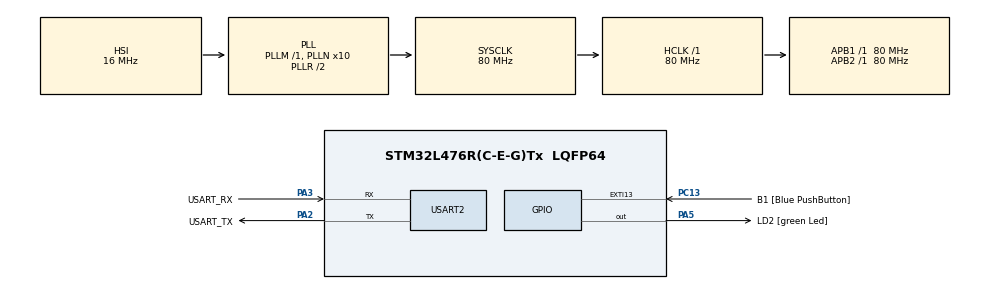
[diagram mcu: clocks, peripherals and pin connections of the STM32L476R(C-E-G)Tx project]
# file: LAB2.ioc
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FREERTOS.Tasks01=defaultTask,8,128,StartDefaultTask,Default,NULL,Dynamic,NULL,NULL;Blink1Task,24,128,Blink1,Default,NULL,Dynamic,NULL,NULL;Blink2Task,24,128,Blink2,Default,NULL,Dynamic,NULL,NULL;TriggTask,40,128,Trigg,Default,NULL,Dynamic,NULL,NULL;UserbuttonTask,40,128,Userbutton,Default,NULL,Dynamic,NULL,NULL
FREERTOS.configTOTAL_HEAP_SIZE=4000
Mcu.Family=STM32L4
Mcu.Name=STM32L476R(C-E-G)Tx
Mcu.Package=LQFP64
NVIC.PriorityGroup=NVIC_PRIORITYGROUP_4
NVIC.TIM1_UP_TIM16_IRQn=true\:15\:0\:false\:false\:true\:false\:false\:true
NVIC.TimeBase=TIM1_UP_TIM16_IRQn
NVIC.TimeBaseIP=TIM1
PA13\ (JTMS-SWDIO).GPIO_Label=TMS
PA13\ (JTMS-SWDIO).Mode=Serial_Wire
PA13\ (JTMS-SWDIO).Signal=SYS_JTMS-SWDIO
PA14\ (JTCK-SWCLK).GPIO_Label=TCK
PA14\ (JTCK-SWCLK).Mode=Serial_Wire
PA14\ (JTCK-SWCLK).Signal=SYS_JTCK-SWCLK
PA2.GPIO_Label=USART_TX
PA2.GPIO_Mode=GPIO_MODE_AF_PP
PA2.GPIO_PuPd=GPIO_NOPULL
PA2.GPIO_Speed=GPIO_SPEED_FREQ_VERY_HIGH
PA2.Mode=Asynchronous
PA2.Signal=USART2_TX
PA3.GPIO_Label=USART_RX
PA3.GPIO_Mode=GPIO_MODE_AF_PP
PA3.GPIO_PuPd=GPIO_NOPULL
PA3.GPIO_Speed=GPIO_SPEED_FREQ_VERY_HIGH
PA3.Mode=Asynchronous
PA3.Signal=USART2_RX
PA5.GPIO_Label=LD2 [green Led]
PA5.GPIO_ModeDefaultOutputPP=GPIO_MODE_OUTPUT_PP
PA5.GPIO_PuPd=GPIO_NOPULL
PA5.GPIO_Speed=GPIO_SPEED_FREQ_LOW
PA5.Signal=GPIO_Output
PB3\ (JTDO-TRACESWO).GPIO_Label=SWO
PB3\ (JTDO-TRACESWO).Signal=SYS_JTDO-SWO
PC13.GPIO_Label=B1 [Blue PushButton]
PC13.GPIO_ModeDefaultEXTI=GPIO_MODE_IT_FALLING
PC13.GPIO_PuPd=GPIO_NOPULL
PC13.Signal=GPXTI13
PC14-OSC32_IN\ (PC14).Mode=LSE-External-Oscillator
PC14-OSC32_IN\ (PC14).Signal=RCC_OSC32_IN
PC15-OSC32_OUT\ (PC15).Mode=LSE-External-Oscillator
PC15-OSC32_OUT\ (PC15).Signal=RCC_OSC32_OUT
PH0-OSC_IN\ (PH0).Signal=RCC_OSC_IN
PH1-OSC_OUT\ (PH1).Signal=RCC_OSC_OUT
ProjectManager.HeapSize=0x200
ProjectManager.StackSize=0x400
ProjectManager.TargetToolchain=STM32CubeIDE
RCC.ADCFreq_Value=64000000
RCC.AHBFreq_Value=80000000
RCC.APB1Freq_Value=80000000
RCC.APB1TimFreq_Value=80000000
RCC.APB2Freq_Value=80000000
RCC.APB2TimFreq_Value=80000000
RCC.CortexFreq_Value=80000000
RCC.HCLKFreq_Value=80000000
RCC.HSE_VALUE=8000000
RCC.HSI_VALUE=16000000
RCC.MSI_VALUE=4000000
RCC.PLLN=10
RCC.PLLSourceVirtual=RCC_PLLSOURCE_HSI
RCC.PREFETCH_ENABLE=1
RCC.SYSCLKFreq_VALUE=80000000
RCC.SYSCLKSource=RCC_SYSCLKSOURCE_PLLCLK
RCC.USBFreq_Value=64000000
RCC.VCOOutputFreq_Value=160000000
USART2.VirtualMode-Asynchronous=VM_ASYNC
VP_FREERTOS_VS_CMSIS_V2.Mode=CMSIS_V2
VP_SYS_VS_tim1.Mode=TIM1
board=NUCLEO-L476RG

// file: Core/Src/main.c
/* USER CODE BEGIN Header */
/** // Mohamad Abou Helal //
  ******************************************************************************
  * @file           : main.c
  * @brief          : Main program body
  ******************************************************************************
  * @attention
  *
  * <h2><center>&copy; Copyright (c) 2021 STMicroelectronics.
  * All rights reserved.</center></h2>
  *
  * This software component is licensed by ST under BSD 3-Clause license,
  * the "License"; You may not use this file except in compliance with the
  * License. You may obtain a copy of the License at:
  *                        opensource.org/licenses/BSD-3-Clause
  *
  ******************************************************************************
  */
/* USER CODE END Header */
#include "main.h"
#include "cmsis_os.h"
#include "usart.h"
#include "gpio.h"

void SystemClock_Config(void);
void MX_FREERTOS_Init(void);

int main(void)
{

  /* MCU Configuration--------------------------------------------------------*/

  /* Reset of all peripherals, Initializes the Flash interface and the Systick. */
  HAL_Init();

  /* Configure the system clock */
  SystemClock_Config();

  /* Initialize all configured peripherals */
  MX_GPIO_Init();
  MX_USART2_UART_Init();

  /* Init scheduler */
  osKernelInitialize();  /* Call init function for freertos objects (in freertos.c) */
  MX_FREERTOS_Init();
  /* Start scheduler */
  osKernelStart();

  /* We should never get here as control is now taken by the scheduler */
  /* Infinite loop */
  while (1)
  {

  }
}

void SystemClock_Config(void)
{
  RCC_OscInitTypeDef RCC_OscInitStruct = {0};
  RCC_ClkInitTypeDef RCC_ClkInitStruct = {0};

  /** Configure the main internal regulator output voltage
  */
  if (HAL_PWREx_ControlVoltageScaling(PWR_REGULATOR_VOLTAGE_SCALE1) != HAL_OK)
  {
    Error_Handler();
  }
  /** Initializes the RCC Oscillators according to the specified parameters
  * in the RCC_OscInitTypeDef structure.
  */
  RCC_OscInitStruct.OscillatorType = RCC_OSCILLATORTYPE_HSI;
  RCC_OscInitStruct.HSIState = RCC_HSI_ON;
  RCC_OscInitStruct.HSICalibrationValue = RCC_HSICALIBRATION_DEFAULT;
  RCC_OscInitStruct.PLL.PLLState = RCC_PLL_ON;
  RCC_OscInitStruct.PLL.PLLSource = RCC_PLLSOURCE_HSI;
  RCC_OscInitStruct.PLL.PLLM = 1;
  RCC_OscInitStruct.PLL.PLLN = 10;
  RCC_OscInitStruct.PLL.PLLP = RCC_PLLP_DIV7;
  RCC_OscInitStruct.PLL.PLLQ = RCC_PLLQ_DIV2;
  RCC_OscInitStruct.PLL.PLLR = RCC_PLLR_DIV2;
  if (HAL_RCC_OscConfig(&RCC_OscInitStruct) != HAL_OK)
  {
    Error_Handler();
  }
  /** Initializes the CPU, AHB and APB buses clocks
  */
  RCC_ClkInitStruct.ClockType = RCC_CLOCKTYPE_HCLK|RCC_CLOCKTYPE_SYSCLK
                              |RCC_CLOCKTYPE_PCLK1|RCC_CLOCKTYPE_PCLK2;
  RCC_ClkInitStruct.SYSCLKSource = RCC_SYSCLKSOURCE_PLLCLK;
  RCC_ClkInitStruct.AHBCLKDivider = RCC_SYSCLK_DIV1;
  RCC_ClkInitStruct.APB1CLKDivider = RCC_HCLK_DIV1;
  RCC_ClkInitStruct.APB2CLKDivider = RCC_HCLK_DIV1;

  if (HAL_RCC_ClockConfig(&RCC_ClkInitStruct, FLASH_LATENCY_4) != HAL_OK)
  {
    Error_Handler();
  }
}

void HAL_TIM_PeriodElapsedCallback(TIM_HandleTypeDef *htim)
{
  if (htim->Instance == TIM1) {
    HAL_IncTick();
  }
}

void Error_Handler(void)
{
  __disable_irq();
  while (1)
  {
  }
}

/************************ (C) COPYRIGHT STMicroelectronics *****END OF FILE****/

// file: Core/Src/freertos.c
/********************************************************************************/
/* USER CODE BEGIN Header */
/**
  ******************************************************************************
  * Name : Mohamad Abou Helal        : freertos.c
  * Description        : Code for freertos applications
  ******************************************************************************
  * @attention
  *
  * <h2><center>&copy; Copyright (c) 2021 STMicroelectronics.
  * All rights reserved.</center></h2>
  *
  * This software component is licensed by ST under Ultimate Liberty license
  * SLA0044, the "License"; You may not use this file except in compliance with
  * the License. You may obtain a copy of the License at:
  *                             www.st.com/SLA0044
  *
  ******************************************************************************
  */
/* USER CODE END Header */

#include "FreeRTOS.h"
#include "task.h"
#include "main.h"
#include "cmsis_os.h"
#include "semphr.h"

/* USER CODE BEGIN Variables */
uint8_t varBlink1 = 0;
uint8_t varBlink2 = 0;
uint8_t varBlink3 = 0;
SemaphoreHandle_t xSemaphore;

/* USER CODE END Variables */
/* Definitions for defaultTask */
osThreadId_t defaultTaskHandle;
const osThreadAttr_t defaultTask_attributes = {
  .name = "defaultTask",
  .stack_size = 128 * 4,
  .priority = (osPriority_t) osPriorityLow,
};
/* Definitions for Blink1Task */
osThreadId_t Blink1TaskHandle;
const osThreadAttr_t Blink1Task_attributes = {
  .name = "Blink1Task",
  .stack_size = 128 * 4,
  .priority = (osPriority_t) osPriorityNormal,
};
/* Definitions for TriggTask */
osThreadId_t TriggTaskHandle;
const osThreadAttr_t TriggTask_attributes = {
  .name = "TriggTask",
  .stack_size = 128 * 4,
  .priority = (osPriority_t) osPriorityHigh,
};
/* Definitions for UserbuttonTask */
osThreadId_t UserbuttonTaskHandle;
const osThreadAttr_t UserbuttonTask_attributes = {
  .name = "UserbuttonTask",
  .stack_size = 128 * 4,
  .priority = (osPriority_t) osPriorityHigh,
};

/* USER CODE BEGIN FunctionPrototypes */
void wait_cycles( uint32_t n );
void ToggleLed(void);
/* USER CODE END FunctionPrototypes */

void StartDefaultTask(void *argument);
void Blink1(void *argument);
void Trigg(void *argument);
void Userbutton(void *argument);

void MX_FREERTOS_Init(void); /* (MISRA C 2004 rule 8.1) */

void MX_FREERTOS_Init(void) {

	/* USER CODE BEGIN RTOS_SEMAPHORES */
	xSemaphore = xSemaphoreCreateBinary();
	/* USER CODE END RTOS_SEMAPHORES */

  /* Create the thread(s) */
  /* creation of defaultTask */
  defaultTaskHandle = osThreadNew(StartDefaultTask, NULL, &defaultTask_attributes);

  /* creation of Blink1Task */
  Blink1TaskHandle = osThreadNew(Blink1, NULL, &Blink1Task_attributes);

  /* creation of TriggTask */
  TriggTaskHandle = osThreadNew(Trigg, NULL, &TriggTask_attributes);

  /* creation of UserbuttonTask */
  UserbuttonTaskHandle = osThreadNew(Userbutton, NULL, &UserbuttonTask_attributes);

}

void StartDefaultTask(void *argument)
{
  for(;;)
  {
    osDelay(1);
  }
}

void Blink1(void *argument)
{
  /* USER CODE BEGIN Blink1 */
	TickType_t xLastWakeTime;
	const TickType_t xPeriod = pdMS_TO_TICKS(100) ; // ms to ticks
	// Initialise the xLastWakeTime variable with the current time.
	xLastWakeTime = xTaskGetTickCount();

	/* Infinite loop */
	for(;;)
	{
		if(xSemaphoreTake (xSemaphore, 0)  == pdPASS){
			ToggleLed();
			xSemaphoreGive(xSemaphore);
		}
		vTaskDelayUntil( &xLastWakeTime, xPeriod );
		//		vTaskDelay(10);
	}
  /* USER CODE END Blink1 */
}

void Trigg(void *argument)
{
  /* USER CODE BEGIN Trigg */
	TickType_t xLastWakeTime;
	const TickType_t xPeriod = pdMS_TO_TICKS(200);	//ms to ticks
	//Initialise the xLastWakeTime variable with the current time.
	xLastWakeTime = xTaskGetTickCount();
  /* Infinite loop */
  for(;;)
  {
    vTaskDelayUntil( &xLastWakeTime, xPeriod);
    wait_cycles(10);
  }
  /* USER CODE END Trigg */
}

void Userbutton(void *argument)
{
  /* USER CODE BEGIN Userbutton */
	TickType_t xLastWakeTime;
	const TickType_t xPeriod = pdMS_TO_TICKS(20);
	// Initialise the xLastWakeTime variable with the current time.
	xLastWakeTime = xTaskGetTickCount();
	xSemaphoreGive(xSemaphore);

	/* Infinite loop */
	for(;;)
	{
		if (HAL_GPIO_ReadPin(B1_GPIO_Port, B1_Pin)==GPIO_PIN_RESET)
		{
			xSemaphoreTake(xSemaphore, 10);
			varBlink1 = 1;
		}
		else{
			xSemaphoreGive(xSemaphore);
			varBlink1 = 0;
		}
		vTaskDelayUntil( &xLastWakeTime, xPeriod );
	}
  /* USER CODE END Userbutton */
}

/* USER CODE BEGIN Application */
void wait_cycles( uint32_t n) {
	uint32_t l = n/3;
	asm volatile( "0:" "SUBS %[count], 1;" "BNE 0b;" :[count]"+r"(l));
}

void ToggleLed(void){
	HAL_GPIO_TogglePin(GPIOA, GPIO_PIN_5);
}

/* USER CODE END Application */

/*
 Includes ------------------------------------------------------------------
#include "FreeRTOS.h"
#include "task.h"
#include "main.h"
#include "cmsis_os.h"
#include"semphr.h"

 Private includes ----------------------------------------------------------
 USER CODE BEGIN Includes

 USER CODE END Includes

 Private typedef -----------------------------------------------------------
 USER CODE BEGIN PTD

 USER CODE END PTD

 Private define ------------------------------------------------------------
 USER CODE BEGIN PD

 USER CODE END PD

 Private macro -------------------------------------------------------------
 USER CODE BEGIN PM

 USER CODE END PM

 Private variables ---------------------------------------------------------
 USER CODE BEGIN Variables
uint8_t varBlink1 = 0;
uint8_t varBlink2 = 0;
uint8_t varBlink3 = 0;
SemaphoreHandle_t xSemaphore;
 USER CODE END Variables
 Definitions for defaultTask
osThreadId_t defaultTaskHandle;
const osThreadAttr_t defaultTask_attributes = {
  .name = "defaultTask",
  .stack_size = 128 * 4,
  .priority = (osPriority_t) osPriorityLow,
};
 Definitions for Blink1Task
osThreadId_t Blink1TaskHandle;
const osThreadAttr_t Blink1Task_attributes = {
  .name = "Blink1Task",
  .stack_size = 128 * 4,
  .priority = (osPriority_t) osPriorityNormal,

};
 Definitions for TriggTask
osThreadId_t TriggTaskHandle;
const osThreadAttr_t TriggTask_attributes = {
  .name = "TriggTask",
  .stack_size = 128 * 4,
  .priority = (osPriority_t) osPriorityHigh,
};
 Definitions for UserbuttonTask
osThreadId_t UserbuttonTaskHandle;
const osThreadAttr_t UserbuttonTask_attributes = {
  .name = "UserbuttonTask",
  .stack_size = 128 * 4,
  .priority = (osPriority_t) osPriorityHigh,
};
 Definitions for myMutex01
osMutexId_t myMutex01Handle;
const osMutexAttr_t myMutex01_attributes = {
  .name = "myMutex01"
};

/* Private function prototypes -----------------------------------------------
 USER CODE BEGIN FunctionPrototypes
void wait_cycles( uint32_t n);
void ToggleLed(void);
 USER CODE END FunctionPrototypes

void StartDefaultTask(void *argument);
void Blink1(void *argument);
//void Blink2(void *argument);
void Trigg(void *argument);
void Userbutton(void *argument);

void MX_FREERTOS_Init(void);  (MISRA C 2004 rule 8.1)

*
  * @brief  FreeRTOS initialization
  * @param  None
  * @retval None

void MX_FREERTOS_Init(void) {
   USER CODE BEGIN Init

   USER CODE END Init

   USER CODE BEGIN RTOS_MUTEX
   add mutexes, ...
   USER CODE END RTOS_MUTEX

   USER CODE BEGIN RTOS_SEMAPHORES
   add semaphores, ...
   USER CODE END RTOS_SEMAPHORES

   USER CODE BEGIN RTOS_TIMERS
   start timers, add new ones, ...
   USER CODE END RTOS_TIMERS

   USER CODE BEGIN RTOS_QUEUES
   add queues, ...
   USER CODE END RTOS_QUEUES

   Create the thread(s)
   creation of defaultTask
  defaultTaskHandle = osThreadNew(StartDefaultTask, NULL, &defaultTask_attributes);

   creation of Blink1Task
  Blink1TaskHandle = osThreadNew(Blink1, NULL, &Blink1Task_attributes);

   creation of TriggTask
  TriggTaskHandle = osThreadNew(Trigg, NULL, &TriggTask_attributes);

   creation of UserbuttonTask
  UserbuttonTaskHandle = osThreadNew(Userbutton, NULL, &UserbuttonTask_attributes);

   USER CODE BEGIN RTOS_THREADS
   add threads, ...
   USER CODE END RTOS_THREADS

   USER CODE BEGIN RTOS_EVENTS
   add events, ...
   USER CODE END RTOS_EVENTS

}

 USER CODE BEGIN Header_StartDefaultTask
*
  * @brief  Function implementing the defaultTask thread.
  * @param  argument: Not used
  * @retval None

 USER CODE END Header_StartDefaultTask
void StartDefaultTask(void *argument)
{
   USER CODE BEGIN StartDefaultTask
   Infinite loop
  for(;;)
  {
    osDelay(1);
  }
   USER CODE END StartDefaultTask
}

 USER CODE BEGIN Header_Blink1
*
* @brief Function implementing the Blink1Task thread.
* @param argument: Not used
* @retval None

 USER CODE END Header_Blink1
void Blink1(void *argument)
{
   USER CODE BEGIN Blink1
	TickType_t xLastWakeTime;
	const TickType_t xPeriod = pdMS_TO_TICKS(100) ; // ms to ticks
	// Initialise the xLastWakeTime variable with the current time.
	xLastWakeTime = xTaskGetTickCount();
	//myMutex01Handle= xSemaphoreCreateMutex();
   Infinite loop
  for(;;)
  {
	  if(xSemaphoreTake (xSemaphore, 0)  == pdPASS){
	  			ToggleLed();
	  			xSemaphoreGive(xSemaphore);
	  		}
	  		vTaskDelayUntil( &xLastWakeTime, xPeriod );
	  		//		vTaskDelay(10);

  }
	  //if(osMutexGetOwner(myMutex01Handle) == NULL)
	  		 // HAL_GPIO_TogglePin(GPIOA, GPIO_PIN_5);	// get Toggle PC10
	  osMutexAcquire(myMutex01Handle, 0U);
	  HAL_GPIO_TogglePin(GPIOA, GPIO_PIN_5);
	 		  osMutexRelease(myMutex01Handle);

	  vTaskDelayUntil( &xLastWakeTime, xPeriod );

  }
  /* USER CODE END Blink1
}

 USER CODE BEGIN Header_Blink2
*
* @brief Function implementing the Blink2Task thread.
* @param argument: Not used
* @retval None

 USER CODE END Header_Blink2
void Blink2(void *argument)
{
   USER CODE BEGIN Blink2
	TickType_t xLastWakeTime;
		const TickType_t xPeriod = pdMS_TO_TICKS(20) ; // ms to ticks
		// Initialise the xLastWakeTime variable with the current time.
		xLastWakeTime = xTaskGetTickCount();

   Infinite loop
  for(;;)
  {
	  varBlink2 = 1;
	  wait_cycles(400000);
	  varBlink2 = 0;
	  vTaskDelay(20);
	  //vTaskDelayUntil( &xLastWakeTime, xPeriod );
  }
   USER CODE END Blink2
//}

 USER CODE BEGIN Header_Trigg
*
* @brief Function implementing the TriggTask thread.
* @param argument: Not used
* @retval None

 USER CODE END Header_Trigg
void Trigg(void *argument)
{
   USER CODE BEGIN Trigg
	TickType_t xLastWakeTime;
	const TickType_t xPeriod = pdMS_TO_TICKS(200) ; // ms to ticks
	// Initialise the xLastWakeTime variable with the current time.
	xLastWakeTime = xTaskGetTickCount();
   Infinite loop
  for(;;)
  {
	  vTaskDelayUntil( &xLastWakeTime, xPeriod);
	      wait_cycles(10);
	  HAL_GPIO_TogglePin(GPIOD, GPIO_PIN_2);	//Toggle PD2
	  	  vTaskDelayUntil(&xLastWakeTime, xPeriod);
	      //osDelay(1);
	    }
	     USER CODE END Trigg
	  }

 USER CODE BEGIN Header_Userbutton
*
* @brief Function implementing the UserbuttonTask thread.
* @param argument: Not used
* @retval None

 USER CODE END Header_Userbutton
void Userbutton(void *argument)
{
   USER CODE BEGIN Userbutton
	TickType_t xLastWakeTime;
	const TickType_t xPeriod = pdMS_TO_TICKS(20);	// ms to ticks
	xLastWakeTime = xTaskGetTickCount();// Initialize xLastWakeTime with the current time
	xSemaphoreGive(xSemaphore);
   Infinite loop
  for(;;)
  {
	  if (HAL_GPIO_ReadPin(B1_GPIO_Port, B1_Pin)==GPIO_PIN_RESET)
	  		{
	  			xSemaphoreTake(xSemaphore, 10);
	  			varBlink1 = 1;
	  		}
	  		else{
	  			xSemaphoreGive(xSemaphore);
	  			varBlink1 = 0;
	  		}
	  		vTaskDelayUntil( &xLastWakeTime, xPeriod );

	  if(HAL_GPIO_ReadPin(B1_GPIO_Port, B1_Pin) == GPIO_PIN_RESET)	//PUSH BUTTON B1; connected to I/O PC13
		  osMutexAcquire(myMutex01Handle, 0U);
	  else
		  osMutexRelease(myMutex01Handle);

	  vTaskDelayUntil(&xLastWakeTime, xPeriod);
  }

   USER CODE END Userbutton
}

 Private application code --------------------------------------------------
 USER CODE BEGIN Application
void wait_cycles ( uint32_t n){
	uint32_t l = n/3; //cycles per loop is 3
	asm volatile( "0:" "SUBS %[count], 1;" "BNE 0b;" :[count]"+r"(l) );
}
void ToggleLed(void){
	HAL_GPIO_TogglePin(GPIOA, GPIO_PIN_5);
}

 USER CODE END Application

*********************** (C) COPYRIGHT STMicroelectronics *****END OF FILE***
